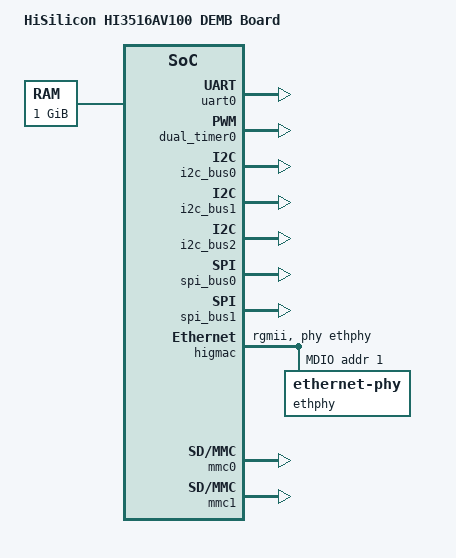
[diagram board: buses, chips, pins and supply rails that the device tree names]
// SPDX-License-Identifier: GPL-2.0-or-later
/*
 * Copyright (c) 2016 HiSilicon Technologies Co., Ltd.
 *
 * Hisilicon HI3516AV100 demo board ("DEMB"). Mirrors the vendor 4.9 BSP
 * hi3516a-demb.dts: 1 GiB RAM @ 0x80000000, single Cortex-A7, UART0
 * console, higmac ethernet, mmc0/1, all four GPIO chips enabled.
 */

/dts-v1/;
#include "hi3516av100.dtsi"

/ {
	model = "HiSilicon HI3516AV100 DEMB Board";
	compatible = "hisilicon,hi3516av100";

	cpus {
		#address-cells = <1>;
		#size-cells = <0>;

		cpu@0 {
			device_type = "cpu";
			compatible = "arm,cortex-a7";
			reg = <0>;
		};
	};

	memory@80000000 {
		device_type = "memory";
		reg = <0x80000000 0x40000000>;
	};

	chosen {
		stdout-path = "serial0:115200n8";
	};
};

&uart0 {
	status = "okay";
};

&dual_timer0 {
	status = "okay";
};

&i2c_bus0 {
	status = "okay";
};

&i2c_bus1 {
	status = "okay";
};

&i2c_bus2 {
	status = "okay";
};

&spi_bus0 {
	status = "okay";
	num-cs = <1>;
};

&spi_bus1 {
	status = "okay";
	num-cs = <3>;
};

&higmac {
	phy-mode = "rgmii";
	phy-handle = <&ethphy>;

	mdio {
		ethphy: ethernet-phy@1 {
			reg = <1>;
		};
	};
};

&mmc0 {
	status = "okay";
};

&mmc1 {
	status = "okay";
};

&gpio0 {
	status = "okay";
};

&gpio1 {
	status = "okay";
};

&gpio2 {
	status = "okay";
};

&gpio3 {
	status = "okay";
};
